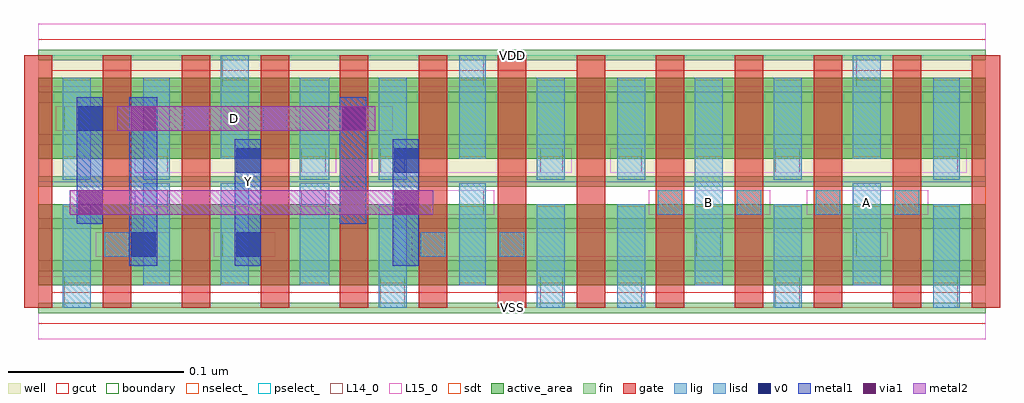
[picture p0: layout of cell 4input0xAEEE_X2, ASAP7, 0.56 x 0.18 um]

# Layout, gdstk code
import gdstk
lib = gdstk.Library(unit=1e-6, precision=1e-09)
def R(c, l, rs):  # rectangles x0, y0, x1, y1
    for r in rs: c.add(gdstk.rectangle(r[:2], r[2:], *l))
def A(c, l, x, y, w, h, nx, ny, dx, dy):  # array of equal rectangles
    R(c, l, [(x+i*dx, y+j*dy, x+i*dx+w, y+j*dy+h) for i in range(nx) for j in range(ny)])
def P(c, l, *ps):  # polygons
    for p in ps: c.add(gdstk.Polygon(p, *l))
well = (1, 0)
fin = (2, 0)
gate = (7, 0)
gcut = (10, 0)
active_area = (11, 0)
nselect_ = (12, 0)
pselect_ = (13, 0)
L14_0 = (14, 0)
L15_0 = (15, 0)
lig = (16, 0)
lisd = (17, 0)
v0 = (18, 0)
metal1 = (19, 0)
metal2 = (20, 0)
via1 = (21, 0)
sdt = (88, 0)
boundary = (100, 0)

c_4input0xaeee_x2 = lib.new_cell('4input0xAEEE_X2')
R(c_4input0xaeee_x2, well, [(0,0.072,0.54,0.144)])
A(c_4input0xaeee_x2, fin, 0, -0.003, 0.54, 0.006, 1, 7, 0, 0.024)
A(c_4input0xaeee_x2, gate, -0.008, 0, 0.016, 0.144, 13, 1, 0.045, 0)
P(c_4input0xaeee_x2, gcut, [(0,-0.009),(0,0),(-0.008,0),(-0.008,0.135),(0.008,0.135),(0.008,0.009),(0.307,0.009),(0.307,0.135),(0.323,0.135),(0.323,0.009),(0.532,0.009),(0.532,0.135),(-0.008,0.135),(-0.008,0.144),(0,0.144),(0,0.153),(0.54,0.153),(0.54,0.144),(0.548,0.144),(0.548,0),(0.54,0),(0.54,-0.009)])
R(c_4input0xaeee_x2, active_area, [(0,0.013,0.54,0.059), (0,0.085,0.54,0.131)])
R(c_4input0xaeee_x2, nselect_, [(0,0,0.54,0.072)])
R(c_4input0xaeee_x2, pselect_, [(0,0.072,0.54,0.144)])
A(c_4input0xaeee_x2, L14_0, 0.33, 0, 0.014, 0.018, 3, 1, 0.09, 0)
A(c_4input0xaeee_x2, L14_0, 0.06, 0.053, 0.014, 0.014, 3, 1, 0.09, 0)
A(c_4input0xaeee_x2, L14_0, 0.353, 0.053, 0.014, 0.014, 4, 1, 0.045, 0)
A(c_4input0xaeee_x2, L14_0, 0.33, 0.077, 0.014, 0.014, 3, 1, 0.09, 0)
A(c_4input0xaeee_x2, L14_0, 0.083, 0.101, 0.014, 0.014, 3, 1, 0.045, 0)
R(c_4input0xaeee_x2, L14_0, [(0.015,0,0.03,0.018), (0.195,0,0.209,0.018), (0.286,0,0.299,0.018), (0.038,0.029,0.052,0.043), (0.105,0.029,0.12,0.043), (0.218,0.029,0.232,0.043), (0.263,0.029,0.277,0.043), (0.375,0.029,0.389,0.043), (0.466,0.029,0.48,0.043), (0.06,0.077,0.074,0.091), (0.15,0.077,0.164,0.091), (0.195,0.077,0.209,0.091), (0.286,0.077,0.299,0.091), (0.015,0.101,0.03,0.115), (0.105,0.126,0.12,0.144), (0.24,0.126,0.254,0.144), (0.466,0.126,0.48,0.144)])
R(c_4input0xaeee_x2, L15_0, [(0,-0.018,0.54,0.018), (0.033,0.029,0.075,0.043), (0.1,0.029,0.135,0.043), (0.213,0.029,0.484,0.043), (0.055,0.053,0.26,0.067), (0.348,0.053,0.417,0.067), (0.438,0.053,0.507,0.067), (0.055,0.077,0.17,0.091), (0.19,0.077,0.304,0.091), (0.326,0.077,0.529,0.091), (0.01,0.101,0.045,0.115), (0.078,0.101,0.147,0.115), (0.165,0.101,0.202,0.115), (0,0.126,0.54,0.162)])
A(c_4input0xaeee_x2, lig, 0.353, 0.053, 0.014, 0.014, 4, 1, 0.045, 0)
A(c_4input0xaeee_x2, lig, 0.083, 0.101, 0.014, 0.014, 3, 1, 0.045, 0)
R(c_4input0xaeee_x2, lig, [(0.038,0.029,0.052,0.043), (0.218,0.029,0.232,0.043), (0.263,0.029,0.277,0.043)])
R(c_4input0xaeee_x2, lisd, [(0.014,0,0.03,0.059), (0.194,0,0.21,0.059), (0.284,0,0.3,0.059), (0.33,0,0.346,0.059), (0.419,0,0.435,0.059), (0.51,0,0.525,0.059), (0.06,0.013,0.075,0.071), (0.104,0.013,0.12,0.071), (0.149,0.013,0.166,0.071), (0.24,0.013,0.255,0.071), (0.374,0.013,0.39,0.131), (0.464,0.013,0.48,0.071), (0.014,0.073,0.03,0.131), (0.06,0.073,0.075,0.131), (0.149,0.073,0.166,0.131), (0.194,0.073,0.21,0.131), (0.284,0.073,0.3,0.131), (0.33,0.073,0.346,0.131), (0.419,0.073,0.435,0.131), (0.51,0.073,0.525,0.131), (0.104,0.085,0.12,0.144), (0.24,0.085,0.255,0.144), (0.464,0.085,0.48,0.144)])
R(c_4input0xaeee_x2, v0, [(0.053,0.029,0.067,0.043), (0.113,0.029,0.127,0.043), (0.113,0.077,0.127,0.091), (0.203,0.077,0.217,0.091), (0.023,0.101,0.037,0.115), (0.173,0.101,0.187,0.115)])
R(c_4input0xaeee_x2, metal1, [(0.052,0.024,0.068,0.12), (0.112,0.024,0.127,0.096), (0.202,0.024,0.217,0.096), (0.022,0.048,0.037,0.12), (0.172,0.048,0.187,0.12)])
R(c_4input0xaeee_x2, metal2, [(0.018,0.053,0.225,0.067), (0.045,0.101,0.192,0.115)])
R(c_4input0xaeee_x2, via1, [(0.023,0.053,0.037,0.067), (0.203,0.053,0.217,0.067), (0.053,0.101,0.067,0.115), (0.173,0.101,0.187,0.115)])
A(c_4input0xaeee_x2, sdt, 0.014, 0.014, 0.016, 0.044, 4, 2, 0.09, 0.072)
A(c_4input0xaeee_x2, sdt, 0.374, 0.014, 0.016, 0.044, 3, 2, 0.045, 0.072)
R(c_4input0xaeee_x2, sdt, [(0.06,0.014,0.075,0.058), (0.149,0.014,0.166,0.058), (0.24,0.014,0.255,0.058), (0.33,0.014,0.346,0.058), (0.51,0.014,0.525,0.058), (0.06,0.086,0.075,0.13), (0.149,0.086,0.166,0.13), (0.24,0.086,0.255,0.13), (0.33,0.086,0.346,0.13), (0.51,0.086,0.525,0.13)])
R(c_4input0xaeee_x2, boundary, [(0,0,0.54,0.144)])
c_4input0xaeee_x2.add(gdstk.Label('VSS', (0.27,0), layer=15, texttype=251))
c_4input0xaeee_x2.add(gdstk.Label('VDD', (0.27,0.144), layer=15, texttype=251))
c_4input0xaeee_x2.add(gdstk.Label('D', (0.112,0.108), layer=15, texttype=251))
c_4input0xaeee_x2.add(gdstk.Label('VSS', (0.27,0), layer=15, texttype=251))
c_4input0xaeee_x2.add(gdstk.Label('VDD', (0.27,0.144), layer=15, texttype=251))
c_4input0xaeee_x2.add(gdstk.Label('B', (0.382,0.06), layer=15, texttype=251))
c_4input0xaeee_x2.add(gdstk.Label('VSS', (0.27,0), layer=15, texttype=251))
c_4input0xaeee_x2.add(gdstk.Label('VDD', (0.27,0.144), layer=15, texttype=251))
c_4input0xaeee_x2.add(gdstk.Label('A', (0.472,0.06), layer=15, texttype=251))
c_4input0xaeee_x2.add(gdstk.Label('VSS', (0.27,0), layer=15, texttype=251))
c_4input0xaeee_x2.add(gdstk.Label('VDD', (0.27,0.144), layer=15, texttype=251))
c_4input0xaeee_x2.add(gdstk.Label('VSS', (0.27,0), layer=15, texttype=251))
c_4input0xaeee_x2.add(gdstk.Label('VDD', (0.27,0.144), layer=15, texttype=251))
c_4input0xaeee_x2.add(gdstk.Label('C', (0.112,0.108), layer=20, texttype=251))
c_4input0xaeee_x2.add(gdstk.Label('Y', (0.12,0.072), layer=19, texttype=251))
c_4input0xaeee_x2.add(gdstk.Label('VSS', (0.27,0), layer=3, texttype=251))
c_4input0xaeee_x2.add(gdstk.Label('VSS', (0.27,0), layer=3, texttype=251))
c_4input0xaeee_x2.add(gdstk.Label('VSS', (0.27,0), layer=3, texttype=251))
c_4input0xaeee_x2.add(gdstk.Label('VSS', (0.27,0), layer=3, texttype=251))
c_4input0xaeee_x2.add(gdstk.Label('VSS', (0.27,0), layer=3, texttype=251))
c_4input0xaeee_x2.add(gdstk.Label('VDD', (0.27,0.144), layer=1, texttype=251))
c_4input0xaeee_x2.add(gdstk.Label('VDD', (0.27,0.144), layer=1, texttype=251))
c_4input0xaeee_x2.add(gdstk.Label('VDD', (0.27,0.144), layer=1, texttype=251))
c_4input0xaeee_x2.add(gdstk.Label('VDD', (0.27,0.144), layer=1, texttype=251))
c_4input0xaeee_x2.add(gdstk.Label('VDD', (0.27,0.144), layer=1, texttype=251))

lib.write_gds('4input0xAEEE_X2.gds')
